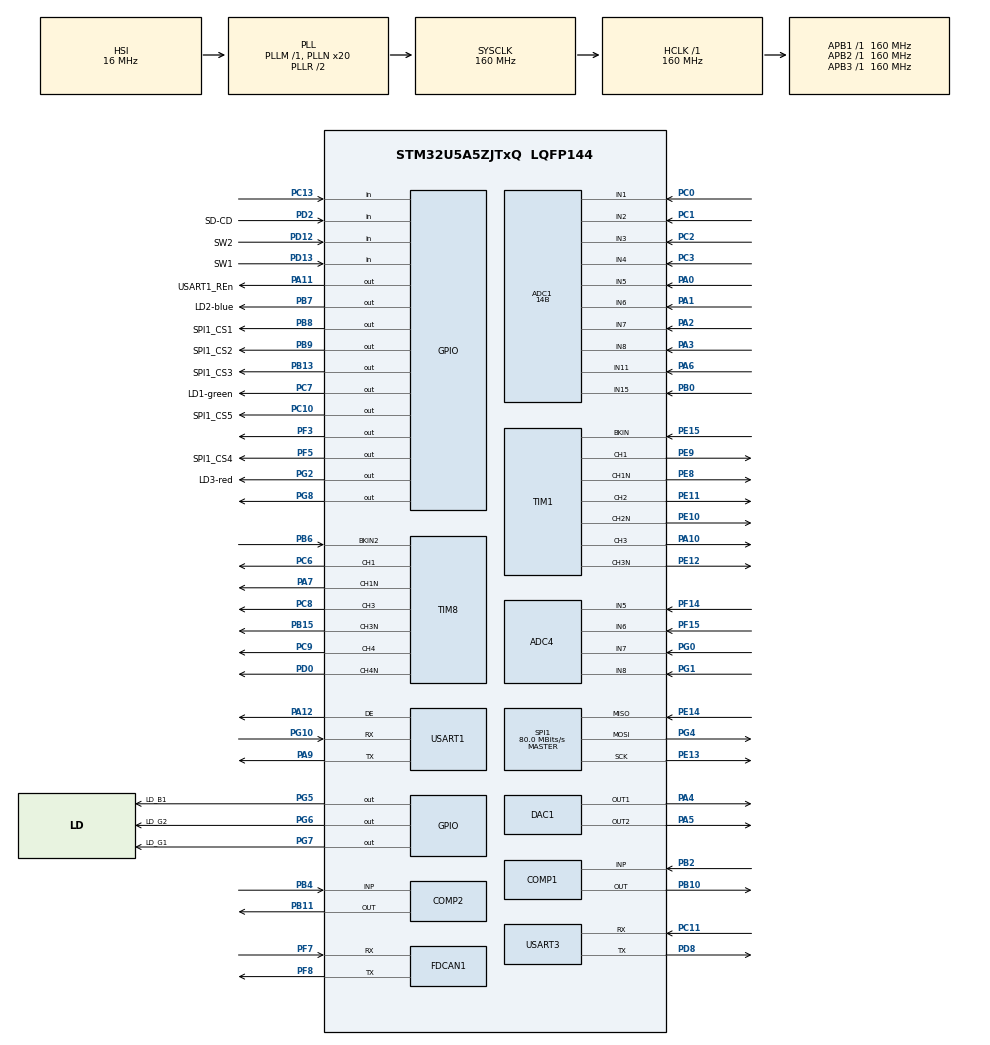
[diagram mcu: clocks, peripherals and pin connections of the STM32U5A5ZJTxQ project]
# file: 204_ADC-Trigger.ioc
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ADC1.Channel-2\#ChannelRegularConversion=ADC_CHANNEL_1
ADC1.ClockPrescaler=ADC_CLOCK_ASYNC_DIV4
ADC1.ContinuousConvMode=DISABLE
ADC1.ConversionDataManagement=ADC_CONVERSIONDATA_DR
ADC1.EnableInjectedConversion=DISABLE
ADC1.EnableRegularConversion=ENABLE
ADC1.ExternalTrigConv=ADC_EXTERNALTRIG_T3_TRGO
ADC1.MonitoredBy-2\#ChannelRegularConversion=__NULL
ADC1.NbrOfConversionFlag=1
ADC1.OffsetNumber-2\#ChannelRegularConversion=ADC_OFFSET_NONE
ADC1.Rank-2\#ChannelRegularConversion=1
ADC1.Resolution=ADC_RESOLUTION_14B
ADC1.SamplingTime-2\#ChannelRegularConversion=ADC_SAMPLETIME_68CYCLES
ADC1.master=1
ADC4.Channel-0\#ChannelRegularConversion=ADC_CHANNEL_5
ADC4.ClockPrescaler=ADC_CLOCK_ASYNC_DIV4
ADC4.NbrOfConversionFlag=1
ADC4.OffsetNumber-0\#ChannelRegularConversion=ADC_OFFSET_NONE
ADC4.Rank-0\#ChannelRegularConversion=1
ADC4.RankArg-0\#ChannelRegularConversion=ADC4_REGULAR_RANK_1
ADC4.SamplingTime-0\#ChannelRegularConversion=ADC4_SAMPLINGTIME_COMMON_1
ADC4.SelectedChannel=ADC_CHANNEL_5|ADC_CHANNEL_6|ADC_CHANNEL_7|ADC_CHANNEL_8
CORTEX_M33_NS.AccessPermission-Cortex_Memory_Protection_Unit_Region0_Settings=MPU_REGION_PRIV_RO
CORTEX_M33_NS.AllocateAttribute0=MPU_R_ALLOCATE
CORTEX_M33_NS.Attributes0=MPU_ATTRIBUTES_NUMBER0
CORTEX_M33_NS.AttributesIndex-Cortex_Memory_Protection_Unit_Region1_Settings=MPU_ATTRIBUTES_NUMBER1
CORTEX_M33_NS.BaseAddress-Cortex_Memory_Protection_Unit_Region0_Settings=0x08000000
CORTEX_M33_NS.Enable-Cortex_Memory_Protection_Unit_Region0_Settings=MPU_REGION_ENABLE
CORTEX_M33_NS.LimitAddress-Cortex_Memory_Protection_Unit_Region0_Settings=0x083FFFFF
CORTEX_M33_NS.MPU_Control=MPU_PRIVILEGED_DEFAULT
CORTEX_M33_NS.Memorytype0=MPU_CACHEABLE
CORTEX_M33_NS.Memorytype1=MPU_CACHEABLE
CORTEX_M33_NS.Number-Cortex_Memory_Protection_Unit_Region0_Settings=MPU_REGION_NUMBER0
CORTEX_M33_NS.Number-Cortex_Memory_Protection_Unit_Region1_Settings=MPU_REGION_NUMBER1
CORTEX_M33_NS.userName=CORTEX_M33
DAC1.DAC_Channel-DAC_OUT1_ExtAndInt=DAC_CHANNEL_1
DAC1.DAC_Channel-DAC_OUT2_ExtAndInt=DAC_CHANNEL_2
FDCAN1.CalculateBaudRateNominal=3333333
FDCAN1.CalculateTimeBitNominal=300
FDCAN1.CalculateTimeQuantumNominal=100.0
FLASH.B1_BLOCK_active=true
FLASH.B1_endPage=255
FLASH.B2_BLOCK_active=true
FLASH.B2_Bank=FLASH_BANK_2
FLASH.B2_endPage=255
FLASH.OB_Boot_Configuration_active_NS0=true
FLASH.OB_NSBOOTADD0_Address=0x08000000
GPDMA1.CIRCULARMODE_GPDMACH15=ENABLE
GPDMA1.DESTDATAWIDTH_GPDMACH15=DMA_DEST_DATAWIDTH_HALFWORD
GPDMA1.DESTINC_GPDMACH15=DMA_DINC_INCREMENTED
GPDMA1.IPHANDLE_GPDMACH15-SIMPLEREQUEST_GPDMACH15=__NULL
GPDMA1.REQUEST_GPDMACH15=GPDMA1_REQUEST_ADC1
GPDMA1.SRCDATAWIDTH_GPDMACH15=DMA_SRC_DATAWIDTH_HALFWORD
GTZC.MPCBB1_Area_Privilege=GTZC_MPCBB_REGION_NPRIV
GTZC.MPCBB1_Area_Privilege_Choice=from full Privileged
GTZC.MPCBB1_Area_Privilege_Size=0x000C0000
GTZC.MPCBB1_PrivConfig_array=00000000\:00000000\:00000000\:00000000\:00000000\:00000000\:00000000\:00000000\:00000000\:00000000\:00000000\:00000000\:00000000\:00000000\:00000000\:00000000\:00000000\:00000000\:00000000\:00000000\:00000000\:00000000\:00000000\:00000000\:00000000\:00000000\:00000000\:00000000\:00000000\:00000000\:00000000\:00000000\:00000000\:00000000\:00000000\:00000000\:00000000\:00000000\:00000000\:00000000\:00000000\:00000000\:00000000\:00000000\:00000000\:00000000\:00000000\:00000000
GTZC.MPCBB1_SecConfig_array=00000000\:00000000\:00000000\:00000000\:00000000\:00000000\:00000000\:00000000\:00000000\:00000000\:00000000\:00000000\:00000000\:00000000\:00000000\:00000000\:00000000\:00000000\:00000000\:00000000\:00000000\:00000000\:00000000\:00000000\:00000000\:00000000\:00000000\:00000000\:00000000\:00000000\:00000000\:00000000\:00000000\:00000000\:00000000\:00000000\:00000000\:00000000\:00000000\:00000000\:00000000\:00000000\:00000000\:00000000\:00000000\:00000000\:00000000\:00000000
GTZC.MPCBB2_Area_Privilege=GTZC_MPCBB_REGION_NPRIV
GTZC.MPCBB2_Area_Privilege_Choice=from full Privileged
GTZC.MPCBB2_Area_Privilege_Size=0x00010000
GTZC.MPCBB2_PrivConfig_array=00000000\:00000000\:00000000\:00000000\:FFFFFFFF\:FFFFFFFF\:FFFFFFFF\:FFFFFFFF\:FFFFFFFF\:FFFFFFFF\:FFFFFFFF\:FFFFFFFF\:FFFFFFFF\:FFFFFFFF\:FFFFFFFF\:FFFFFFFF\:FFFFFFFF\:FFFFFFFF\:FFFFFFFF\:FFFFFFFF\:FFFFFFFF\:FFFFFFFF\:FFFFFFFF\:FFFFFFFF\:FFFFFFFF\:FFFFFFFF\:FFFFFFFF\:FFFFFFFF\:FFFFFFFF\:FFFFFFFF\:FFFFFFFF\:FFFFFFFF\:FFFFFFFF\:FFFFFFFF\:FFFFFFFF\:FFFFFFFF\:FFFFFFFF\:FFFFFFFF\:FFFFFFFF\:FFFFFFFF\:FFFFFFFF\:FFFFFFFF\:FFFFFFFF\:FFFFFFFF\:FFFFFFFF\:FFFFFFFF\:FFFFFFFF\:FFFFFFFF\:FFFFFFFF\:FFFFFFFF\:FFFFFFFF\:FFFFFFFF
GTZC.MPCBB2_SecConfig_array=00000000\:00000000\:00000000\:00000000\:00000000\:00000000\:00000000\:00000000\:00000000\:00000000\:00000000\:00000000\:00000000\:00000000\:00000000\:00000000\:00000000\:00000000\:00000000\:00000000\:00000000\:00000000\:00000000\:00000000\:00000000\:00000000\:00000000\:00000000\:00000000\:00000000\:00000000\:00000000\:00000000\:00000000\:00000000\:00000000\:00000000\:00000000\:00000000\:00000000\:00000000\:00000000\:00000000\:00000000\:00000000\:00000000\:00000000\:00000000\:00000000\:00000000\:00000000\:00000000
GTZC.MPCBB3_Area_Privilege=GTZC_MPCBB_REGION_NPRIV
GTZC.MPCBB3_Area_Privilege_Choice=from full Privileged
GTZC.MPCBB3_Area_Privilege_Size=0x000D0000
GTZC.MPCBB3_PrivConfig_array=00000000\:00000000\:00000000\:00000000\:00000000\:00000000\:00000000\:00000000\:00000000\:00000000\:00000000\:00000000\:00000000\:00000000\:00000000\:00000000\:00000000\:00000000\:00000000\:00000000\:00000000\:00000000\:00000000\:00000000\:00000000\:00000000\:00000000\:00000000\:00000000\:00000000\:00000000\:00000000\:00000000\:00000000\:00000000\:00000000\:00000000\:00000000\:00000000\:00000000\:00000000\:00000000\:00000000\:00000000\:00000000\:00000000\:00000000\:00000000\:00000000\:00000000\:00000000\:00000000
GTZC.MPCBB3_SecConfig_array=00000000\:00000000\:00000000\:00000000\:00000000\:00000000\:00000000\:00000000\:00000000\:00000000\:00000000\:00000000\:00000000\:00000000\:00000000\:00000000\:00000000\:00000000\:00000000\:00000000\:00000000\:00000000\:00000000\:00000000\:00000000\:00000000\:00000000\:00000000\:00000000\:00000000\:00000000\:00000000\:00000000\:00000000\:00000000\:00000000\:00000000\:00000000\:00000000\:00000000\:00000000\:00000000\:00000000\:00000000\:00000000\:00000000\:00000000\:00000000\:00000000\:00000000\:00000000\:00000000
GTZC.MPCBB4_PrivConfig_array=00000000
GTZC.MPCBB4_SecConfig_array=00000000
GTZC.MPCBB5_Area_Privilege=GTZC_MPCBB_REGION_NPRIV
GTZC.MPCBB5_Area_Privilege_Choice=from full Privileged
GTZC.MPCBB5_Area_Privilege_Size=0x000D0000
GTZC.MPCBB5_PrivConfig_array=00000000\:00000000\:00000000\:00000000\:00000000\:00000000\:00000000\:00000000\:00000000\:00000000\:00000000\:00000000\:00000000\:00000000\:00000000\:00000000\:00000000\:00000000\:00000000\:00000000\:00000000\:00000000\:00000000\:00000000\:00000000\:00000000\:00000000\:00000000\:00000000\:00000000\:00000000\:00000000\:00000000\:00000000\:00000000\:00000000\:00000000\:00000000\:00000000\:00000000\:00000000\:00000000\:00000000\:00000000\:00000000\:00000000\:00000000\:00000000\:00000000\:00000000\:00000000\:00000000
GTZC.MPCBB5_SecConfig_array=00000000\:00000000\:00000000\:00000000\:00000000\:00000000\:00000000\:00000000\:00000000\:00000000\:00000000\:00000000\:00000000\:00000000\:00000000\:00000000\:00000000\:00000000\:00000000\:00000000\:00000000\:00000000\:00000000\:00000000\:00000000\:00000000\:00000000\:00000000\:00000000\:00000000\:00000000\:00000000\:00000000\:00000000\:00000000\:00000000\:00000000\:00000000\:00000000\:00000000\:00000000\:00000000\:00000000\:00000000\:00000000\:00000000\:00000000\:00000000\:00000000\:00000000\:00000000\:00000000
Mcu.Family=STM32U5
Mcu.Name=STM32U5A5ZJTxQ
Mcu.Package=LQFP144
NVIC.ADC1_2_IRQn=true\:0\:0\:false\:false\:true\:true\:true\:true
NVIC.GPDMA1_Channel15_IRQn=true\:0\:0\:false\:false\:true\:false\:true\:true
NVIC.PriorityGroup=NVIC_PRIORITYGROUP_4
PA0.Mode=IN5-Single-Ended
PA0.Signal=ADC1_IN5
PA1.Mode=IN6-Single-Ended
PA1.Signal=ADC1_IN6
PA10.Signal=S_TIM1_CH3
PA11.GPIO_Label=USART1_REn
PA11.Signal=GPIO_Output
PA12.Mode=Hardware Flow Control (RS485)
PA12.Signal=USART1_DE
PA13\ (JTMS/SWDIO).Mode=Trace_Asynchronous_SW
PA13\ (JTMS/SWDIO).Signal=DEBUG_JTMS-SWDIO
PA14\ (JTCK/SWCLK).Mode=Trace_Asynchronous_SW
PA14\ (JTCK/SWCLK).Signal=DEBUG_JTCK-SWCLK
PA2.Mode=IN7-Single-Ended
PA2.Signal=ADC1_IN7
PA3.Mode=IN8-Single-Ended
PA3.Signal=ADC1_IN8
PA4.Signal=COMP_DAC11_group
PA5.Signal=COMP_DAC12_group
PA6.Mode=IN11-Single-Ended
PA6.Signal=ADC1_IN11
PA7.Mode=PWM Generation1 CH1 CH1N
PA7.Signal=TIM8_CH1N
PA9.Mode=Asynchronous
PA9.Signal=USART1_TX
PB0.Mode=IN15-Single-Ended
PB0.Signal=ADC1_IN15
PB10.Mode=ExternalOutput
PB10.Signal=COMP1_OUT
PB11.Mode=ExternalOutput
PB11.Signal=COMP2_OUT
PB13.GPIO_Label=SPI1_CS3
PB13.Signal=GPIO_Output
PB15.Mode=PWM Generation3 CH3 CH3N
PB15.Signal=TIM8_CH3N
PB2.Mode=INP
PB2.Signal=COMP1_INP
PB3\ (JTDO/TRACESWO).Mode=Trace_Asynchronous_SW
PB3\ (JTDO/TRACESWO).Signal=DEBUG_JTDO-SWO
PB4\ (NJTRST).Mode=INP
PB4\ (NJTRST).Signal=COMP2_INP
PB6.Mode=Activate-Break-Input-2
PB6.Signal=TIM8_BKIN2
PB7.GPIO_Label=LD2-blue
PB7.Signal=GPIO_Output
PB8.GPIO_Label=SPI1_CS1
PB8.Signal=GPIO_Output
PB9.GPIO_Label=SPI1_CS2
PB9.Signal=GPIO_Output
PC0.Mode=IN1-Single-Ended
PC0.Signal=ADC1_IN1
PC1.Mode=IN2-Single-Ended
PC1.Signal=ADC1_IN2
PC10.GPIO_Label=SPI1_CS5
PC10.Signal=GPIO_Output
PC11.Mode=Asynchronous
PC11.Signal=USART3_RX
PC13.Signal=GPIO_Input
PC14-OSC32_IN\ (PC14).Mode=LSE-External-Oscillator
PC14-OSC32_IN\ (PC14).Signal=RCC_OSC32_IN
PC15-OSC32_OUT\ (PC15).Mode=LSE-External-Oscillator
PC15-OSC32_OUT\ (PC15).Signal=RCC_OSC32_OUT
PC2.Mode=IN3-Single-Ended
PC2.Signal=ADC1_IN3
PC3.Mode=IN4-Single-Ended
PC3.Signal=ADC1_IN4
PC6.Signal=S_TIM8_CH1
PC7.GPIO_Label=LD1-green
PC7.Signal=GPIO_Output
PC8.Signal=S_TIM8_CH3
PC9.Signal=S_TIM8_CH4
PD0.Mode=PWM Generation4 CH4 CH4N
PD0.Signal=TIM8_CH4N
PD12.GPIO_Label=SW2
PD12.Signal=GPIO_Input
PD13.GPIO_Label=SW1
PD13.Signal=GPIO_Input
PD2.GPIO_Label=SD-CD
PD2.Signal=GPIO_Input
PD8.Mode=Asynchronous
PD8.Signal=USART3_TX
PE10.Mode=PWM Generation2 CH2 CH2N
PE10.Signal=TIM1_CH2N
PE11.Signal=S_TIM1_CH2
PE12.Mode=PWM Generation3 CH3 CH3N
PE12.Signal=TIM1_CH3N
PE13.Mode=Full_Duplex_Master
PE13.Signal=SPI1_SCK
PE14.Mode=Full_Duplex_Master
PE14.Signal=SPI1_MISO
PE15.Mode=Activate-Break-Input
PE15.Signal=TIM1_BKIN
PE8.Mode=PWM Generation1 CH1 CH1N
PE8.Signal=TIM1_CH1N
PE9.Signal=S_TIM1_CH1
PF14.Mode=IN5
PF14.Signal=ADC4_IN5
PF15.Mode=IN6
PF15.Signal=ADC4_IN6
PF3.Signal=GPIO_Output
PF5.GPIO_Label=SPI1_CS4
PF5.Signal=GPIO_Output
PF7.Mode=FDCAN_Activate
PF7.Signal=FDCAN1_RX
PF8.Mode=FDCAN_Activate
PF8.Signal=FDCAN1_TX
PG0.Mode=IN7
PG0.Signal=ADC4_IN7
PG1.Mode=IN8
PG1.Signal=ADC4_IN8
PG10.Mode=Asynchronous
PG10.Signal=USART1_RX
PG2.GPIO_Label=LD3-red
PG2.Signal=GPIO_Output
PG4.Mode=Full_Duplex_Master
PG4.Signal=SPI1_MOSI
PG5.GPIO_Label=LD_B1
PG5.Signal=GPIO_Output
PG6.GPIO_Label=LD_G2
PG6.Signal=GPIO_Output
PG7.GPIO_Label=LD_G1
PG7.Signal=GPIO_Output
PG8.Signal=GPIO_Output
PWR.PowerMode=PWR_SMPS_SUPPLY
ProjectManager.HeapSize=0x2000
ProjectManager.StackSize=0x10000
ProjectManager.TargetToolchain=STM32CubeIDE
RCC.ADCCLockSelection=RCC_ADCDACCLKSOURCE_SYSCLK
RCC.ADCFreq_Value=160000000
RCC.AHBFreq_Value=160000000
RCC.APB1Freq_Value=160000000
RCC.APB1TimFreq_Value=160000000
RCC.APB2Freq_Value=160000000
RCC.APB2TimFreq_Value=160000000
RCC.APB3Freq_Value=160000000
RCC.CortexFreq_Value=160000000
RCC.DACCLockSelectionVirtual=RCC_DAC1CLKSOURCE_LSI
RCC.EPOD_VALUE=16000000
RCC.HCLKFreq_Value=160000000
RCC.HSE_VALUE=16000000
RCC.HSI48_VALUE=48000000
RCC.HSI_VALUE=16000000
RCC.LSIDIV_VALUE=32000
RCC.MSIClockRange=RCC_MSIRANGE_0
RCC.MSI_VALUE=48000000
RCC.PLLFRACN=0
RCC.PLLN=20
RCC.PLLSourceVirtual=RCC_PLLSOURCE_HSI
RCC.SYSCLKFreq_VALUE=160000000
RCC.SYSCLKSource=RCC_SYSCLKSOURCE_PLLCLK
RCC.USBPHYCLockSelection=RCC_USBPHYCLKSOURCE_HSE
RCC.VCOOutputFreq_Value=320000000
SH.COMP_DAC11_group.0=DAC1_OUT1,DAC_OUT1_ExtAndInt
SH.COMP_DAC12_group.0=DAC1_OUT2,DAC_OUT2_ExtAndInt
SH.S_TIM1_CH1.0=TIM1_CH1,PWM Generation1 CH1 CH1N
SH.S_TIM1_CH2.0=TIM1_CH2,PWM Generation2 CH2 CH2N
SH.S_TIM1_CH3.0=TIM1_CH3,PWM Generation3 CH3 CH3N
SH.S_TIM8_CH1.0=TIM8_CH1,PWM Generation1 CH1 CH1N
SH.S_TIM8_CH3.0=TIM8_CH3,PWM Generation3 CH3 CH3N
SH.S_TIM8_CH4.0=TIM8_CH4,PWM Generation4 CH4 CH4N
SPI1.CalculateBaudRate=80.0 MBits/s
SPI1.Direction=SPI_DIRECTION_2LINES
SPI1.Mode=SPI_MODE_MASTER
SPI1.VirtualType=VM_MASTER
STMicroelectronics.X-CUBE-ALGOBUILD.1.4.0.LibraryCcDSPOoLibraryJjDSPOoLibrary=true
TIM1.Channel-PWM\ Generation1\ CH1\ CH1N=TIM_CHANNEL_1
TIM1.Channel-PWM\ Generation2\ CH2\ CH2N=TIM_CHANNEL_2
TIM1.Channel-PWM\ Generation3\ CH3\ CH3N=TIM_CHANNEL_3
TIM1.SourceBRK2COMP1=TIM_BREAKINPUTSOURCE_DISABLE
TIM1.SourceBRKCOMP1=TIM_BREAKINPUTSOURCE_ENABLE
TIM3.PeriodNoDither=100 - 1
TIM3.Prescaler=20 - 1
TIM3.TIM_MasterOutputTrigger=TIM_TRGO_UPDATE
TIM8.AutomaticOutput=TIM_AUTOMATICOUTPUT_DISABLE
TIM8.Channel-PWM\ Generation1\ CH1\ CH1N=TIM_CHANNEL_1
TIM8.Channel-PWM\ Generation3\ CH3\ CH3N=TIM_CHANNEL_3
TIM8.Channel-PWM\ Generation4\ CH4\ CH4N=TIM_CHANNEL_4
TIM8.SourceBRK2COMP2=TIM_BREAKINPUTSOURCE_ENABLE
TIM8.SourceBRKCOMP2=TIM_BREAKINPUTSOURCE_ENABLE
USART1.VirtualMode-Asynchronous=VM_ASYNC
USART1.VirtualMode-Hardware\ Flow\ Control\ (RS485)=VM_ASYNC
USART3.VirtualMode-Asynchronous=VM_ASYNC
VP_COMP1_VS_DACOUT1.Mode=INM_DACOUT1
VP_COMP2_VS_DACOUT2.Mode=INM_DACOUT2
VP_FLASH_SIG_Activate_FlashIP.Mode=Activate_FlashIP
VP_GPDMA1_VS_GPDMACH15.Mode=SIMPLEREQUEST_GPDMACH15
VP_GTZC_VS_GTZC_Enable.Mode=GTZC_Enable
VP_ICACHE_VS_ICACHE.Mode=DirectMappedCache
VP_LPBAMQUEUE_VS_QUEUE.Mode=QUEUEMODE
VP_MEMORYMAP_VS_MEMORYMAP.Mode=CurAppReg
VP_PWR_VS_DBSignals.Mode=DisableDeadBatterySignals
VP_PWR_VS_LPOM.Mode=PowerOptimisation
VP_PWR_VS_SECSignals.Mode=Security/Privilege
VP_PWR_Vdda.Mode=isolationVdda
VP_STMicroelectronics.X-CUBE-ALGOBUILD_VS_DSPOoLibraryJjLibrary_1.4.0_1.4.0.Mode=DSPOoLibraryJjLibrary
VP_TIM1_VS_ClockSourceINT.Mode=Internal
VP_TIM3_VS_ClockSourceINT.Mode=Internal
board=NUCLEO-U5A5ZJ-Q

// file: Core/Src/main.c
/* USER CODE BEGIN Header */
/**
  ******************************************************************************
  * @file           : main.c
  * @brief          : Main program body
  ******************************************************************************
  * @attention
  *
  * Simpler ADC mit DMA und Trigger (80 kHz).
  * Das Spannungssignal wird am CN9 zwischen Pin A5 (+) und GND
  * eingespeist. Der ADC Wert [0] wird auf der SVW Konsole ausgegeben.
  *
  ******************************************************************************
  */
/* USER CODE END Header */
#include "main.h"
#include "adc.h"
#include "comp.h"
#include "dac.h"
#include "fdcan.h"
#include "flash.h"
#include "gpdma.h"
#include "gtzc.h"
#include "icache.h"
#include "spi.h"
#include "tim.h"
#include "usart.h"
#include "gpio.h"

/* USER CODE BEGIN Includes */
// FFT
#include <stdio.h>
#include <stdlib.h>
#include <math.h>
#include "arm_math.h"
#include "complex.h"
#include "input.h"
#include "fft.h"
/* USER CODE END Includes */

/* USER CODE BEGIN PD */
#define N 65536	// Muss 2^N sein!
/* USER CODE END PD */

/* USER CODE BEGIN PV */
// Globale Variablen
// FFT
float x[N];
Complex c[N];
// DMA
uint16_t ADC_VAL;
float voltage = 0;
/* USER CODE END PV */

void SystemClock_Config(void);
static void SystemPower_Config(void);
static void MPU_Config(void);
/* USER CODE BEGIN PFP */
// Callbacks
void HAL_ADC_ConvCpltCallback(ADC_HandleTypeDef *hadc)
{
  ADC_VAL = HAL_ADC_GetValue(&hadc1);
  HAL_GPIO_TogglePin(GPIOF, GPIO_PIN_3);
}
/* USER CODE END PFP */

int main(void)
{

  /* MCU Configuration--------------------------------------------------------*/

  /* MPU Configuration--------------------------------------------------------*/
  MPU_Config();

  /* Reset of all peripherals, Initializes the Flash interface and the Systick. */
  HAL_Init();

  /* Configure the System Power */
  SystemPower_Config();

  /* Configure the system clock */
  SystemClock_Config();
  /* GTZC initialisation */
  MX_GTZC_Init();

  /* Initialize all configured peripherals */
  MX_GPIO_Init();
  MX_GPDMA1_Init();
  MX_ICACHE_Init();
  MX_FLASH_Init();
  MX_ADC1_Init();
  MX_ADC4_Init();
  MX_COMP1_Init();
  MX_COMP2_Init();
  MX_DAC1_Init();
  MX_FDCAN1_Init();
  MX_SPI1_Init();
  MX_TIM1_Init();
  MX_TIM8_Init();
  MX_USART3_UART_Init();
  MX_USART1_UART_Init();
  MX_TIM3_Init();
  /* USER CODE BEGIN 2 */
  // printf()
  printf("Start Monitoringsystem!\r\n");
  // Starte ADC im DMA Modus
  // HAL_ADC_Start_DMA(&hadc1, (uint32_t*)ADC_VAL, 10);
  // Starte ADC Trigger
  HAL_TIM_Base_Start(&htim3);
  HAL_ADC_Start_IT(&hadc1);
  /* USER CODE END 2 */

  /* Infinite loop */
  /* USER CODE BEGIN WHILE */
  while (1)
  {
	  // Grüne LED
	  HAL_GPIO_TogglePin(LD1_green_GPIO_Port, LD1_green_Pin);

	  // FFT
	  /*printf("Start FFT\n");
	  make_complex(x, c, (int)N);
	  fft(c, (int)N);
	  scale(c, (int)N);
	  abs_val(c, (int)N);*/

	  // Konsole
	  voltage = (ADC_VAL/16383.0)*3.3;
	  printf("ADC Value: %.2f\r\n", voltage);

	  // Delay
	  HAL_Delay(200);

    /* USER CODE END WHILE */

  }
}

void SystemClock_Config(void)
{
  RCC_OscInitTypeDef RCC_OscInitStruct = {0};
  RCC_ClkInitTypeDef RCC_ClkInitStruct = {0};

  /** Configure the main internal regulator output voltage
  */
  if (HAL_PWREx_ControlVoltageScaling(PWR_REGULATOR_VOLTAGE_SCALE1) != HAL_OK)
  {
    Error_Handler();
  }

  /** Initializes the CPU, AHB and APB buses clocks
  */
  RCC_OscInitStruct.OscillatorType = RCC_OSCILLATORTYPE_HSI|RCC_OSCILLATORTYPE_LSI;
  RCC_OscInitStruct.HSIState = RCC_HSI_ON;
  RCC_OscInitStruct.HSICalibrationValue = RCC_HSICALIBRATION_DEFAULT;
  RCC_OscInitStruct.LSIState = RCC_LSI_ON;
  RCC_OscInitStruct.LSIDiv = RCC_LSI_DIV1;
  RCC_OscInitStruct.PLL.PLLState = RCC_PLL_ON;
  RCC_OscInitStruct.PLL.PLLSource = RCC_PLLSOURCE_HSI;
  RCC_OscInitStruct.PLL.PLLMBOOST = RCC_PLLMBOOST_DIV1;
  RCC_OscInitStruct.PLL.PLLM = 1;
  RCC_OscInitStruct.PLL.PLLN = 20;
  RCC_OscInitStruct.PLL.PLLP = 2;
  RCC_OscInitStruct.PLL.PLLQ = 2;
  RCC_OscInitStruct.PLL.PLLR = 2;
  RCC_OscInitStruct.PLL.PLLRGE = RCC_PLLVCIRANGE_1;
  RCC_OscInitStruct.PLL.PLLFRACN = 0;
  if (HAL_RCC_OscConfig(&RCC_OscInitStruct) != HAL_OK)
  {
    Error_Handler();
  }

  /** Initializes the CPU, AHB and APB buses clocks
  */
  RCC_ClkInitStruct.ClockType = RCC_CLOCKTYPE_HCLK|RCC_CLOCKTYPE_SYSCLK
                              |RCC_CLOCKTYPE_PCLK1|RCC_CLOCKTYPE_PCLK2
                              |RCC_CLOCKTYPE_PCLK3;
  RCC_ClkInitStruct.SYSCLKSource = RCC_SYSCLKSOURCE_PLLCLK;
  RCC_ClkInitStruct.AHBCLKDivider = RCC_SYSCLK_DIV1;
  RCC_ClkInitStruct.APB1CLKDivider = RCC_HCLK_DIV1;
  RCC_ClkInitStruct.APB2CLKDivider = RCC_HCLK_DIV1;
  RCC_ClkInitStruct.APB3CLKDivider = RCC_HCLK_DIV1;

  if (HAL_RCC_ClockConfig(&RCC_ClkInitStruct, FLASH_LATENCY_4) != HAL_OK)
  {
    Error_Handler();
  }
}

/**
  * @brief Power Configuration
  * @retval None
  */
static void SystemPower_Config(void)
{
  HAL_PWREx_EnableVddIO2();

  /*
   * Disable the internal Pull-Up in Dead Battery pins of UCPD peripheral
   */
  HAL_PWREx_DisableUCPDDeadBattery();

  /*
   * Switch to SMPS regulator instead of LDO
   */
  if (HAL_PWREx_ConfigSupply(PWR_SMPS_SUPPLY) != HAL_OK)
  {
    Error_Handler();
  }
}

/* USER CODE BEGIN 4 */
int _write(int file, char *ptr, int len)
{
  (void)file;
  int DataIdx;

  for (DataIdx = 0; DataIdx < len; DataIdx++)
  {
    ITM_SendChar(*ptr++);
  }
  return len;
}
/* USER CODE END 4 */

 /* MPU Configuration */

void MPU_Config(void)
{
  MPU_Region_InitTypeDef MPU_InitStruct = {0};
  MPU_Attributes_InitTypeDef MPU_AttributesInit = {0};

  /* Disables the MPU */
  HAL_MPU_Disable();

  /** Initializes and configures the Region 0 and the memory to be protected
  */
  MPU_InitStruct.Enable = MPU_REGION_ENABLE;
  MPU_InitStruct.Number = MPU_REGION_NUMBER0;
  MPU_InitStruct.BaseAddress = 0x08000000;
  MPU_InitStruct.LimitAddress = 0x083FFFFF;
  MPU_InitStruct.AttributesIndex = MPU_ATTRIBUTES_NUMBER0;
  MPU_InitStruct.AccessPermission = MPU_REGION_PRIV_RO;
  MPU_InitStruct.DisableExec = MPU_INSTRUCTION_ACCESS_ENABLE;
  MPU_InitStruct.IsShareable = MPU_ACCESS_NOT_SHAREABLE;

  HAL_MPU_ConfigRegion(&MPU_InitStruct);

  /** Initializes and configures the Attribute 0 and the memory to be protected
  */
  MPU_AttributesInit.Number = MPU_ATTRIBUTES_NUMBER0;
  MPU_AttributesInit.Attributes = INNER_OUTER(MPU_WRITE_THROUGH|MPU_TRANSIENT
                              |MPU_R_ALLOCATE);

  HAL_MPU_ConfigMemoryAttributes(&MPU_AttributesInit);
  /* Enables the MPU */
  HAL_MPU_Enable(MPU_PRIVILEGED_DEFAULT);

}

void Error_Handler(void)
{
  __disable_irq();
  while (1)
  {
  }
}
